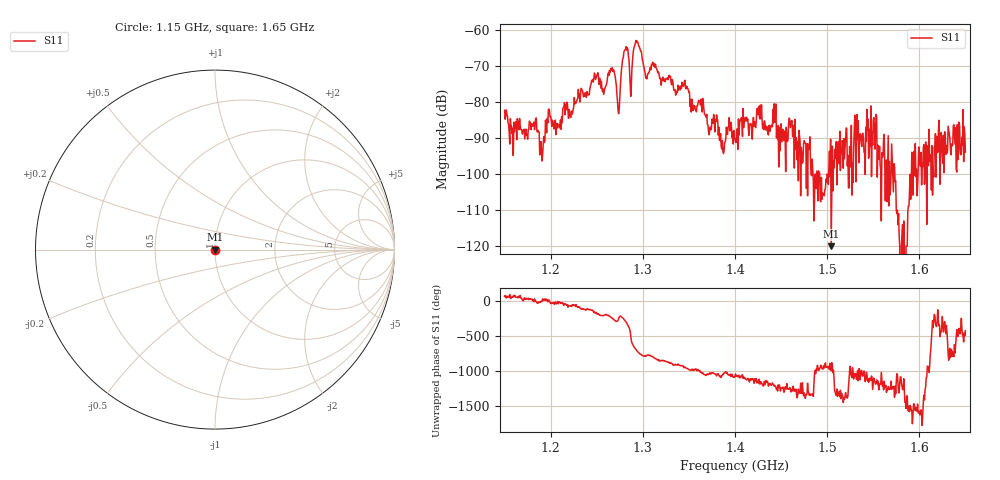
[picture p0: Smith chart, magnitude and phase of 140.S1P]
! C:\Users\rflab\Downloads\Lab5_KD_ZW\Q2\140.S1P
! Touchstone 1.1 file saved by VNA.EXE V1.65 (www.ke5fx.com/gpib/readme.htm)
! 11/12/2024 1:21:38 AM
!  Source: HEWLETT PACKARD,8753D,0,6.14
!  Min freq: 1.150000E+009 Hz
!  Max freq: 1.650000E+009 Hz
!  Points: 801
!  Params: S21
# GHZ S RI R 50
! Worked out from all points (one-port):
!   801 points, 1.15 GHz to 1.65 GHz, reference 50 ohm
!   lowest |S11| = -120.0 dB at 1.504 GHz (marker M1), VSWR 1.00, Z = 50 + j0.0001 ohm
!   |S11| at or under -10 dB: start of sweep to end of sweep
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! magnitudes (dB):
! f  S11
! 1.15 GHz  -82.3
! 1.212 GHz  -85.8
! 1.239 GHz  -77.2
! 1.249 GHz  -73.2
! 1.258 GHz  -77.2
! 1.266 GHz  -71.2
! 1.269 GHz  -71.5
! 1.272 GHz  -79.9
! 1.275 GHz  -78.6
! 1.278 GHz  -68.1
! 1.281 GHz  -65.6
! 1.282 GHz  -65.7
! 1.287 GHz  -78.5
! 1.291 GHz  -64.4
! 1.294 GHz  -63.1
! 1.304 GHz  -73.2
! 1.312 GHz  -70.1
! 1.32 GHz  -75.4
! 1.327 GHz  -73.9
! 1.337 GHz  -77.4
! 1.345 GHz  -74.4
! 1.356 GHz  -81.1
! 1.4 GHz  -90.2
! 1.462 GHz  -89.7
! 1.504 GHz  -120.0
! 1.525 GHz  -98.0
! 1.587 GHz  -110.5
! 1.65 GHz  -93.9
